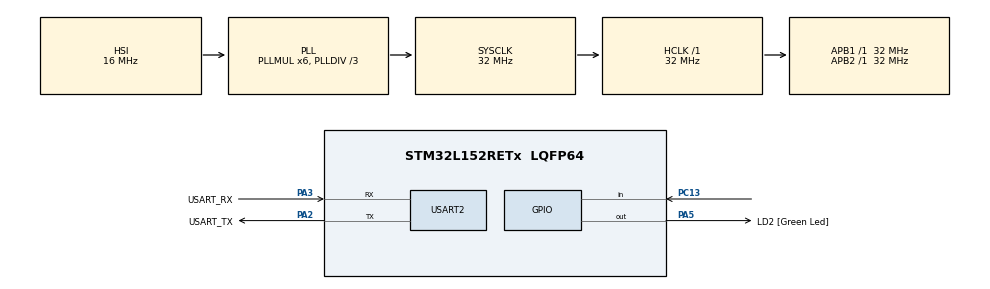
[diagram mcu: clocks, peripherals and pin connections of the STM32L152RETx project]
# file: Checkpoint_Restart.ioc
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Mcu.Family=STM32L1
Mcu.Name=STM32L152RETx
Mcu.Package=LQFP64
NVIC.PriorityGroup=NVIC_PRIORITYGROUP_0
PA13.GPIO_Label=TMS
PA13.Mode=Serial_Wire
PA13.Signal=SYS_JTMS-SWDIO
PA14.GPIO_Label=TCK
PA14.Mode=Serial_Wire
PA14.Signal=SYS_JTCK-SWCLK
PA2.GPIO_Label=USART_TX
PA2.Mode=Asynchronous
PA2.Signal=USART2_TX
PA3.GPIO_Label=USART_RX
PA3.Mode=Asynchronous
PA3.Signal=USART2_RX
PA5.GPIO_Label=LD2 [Green Led]
PA5.Signal=GPIO_Output
PB3.GPIO_Label=SWO
PB3.Signal=SYS_JTDO-TRACESWO
PC13-WKUP2.Signal=GPIO_Input
PC14-OSC32_IN.Mode=LSE-External-Oscillator
PC14-OSC32_IN.Signal=RCC_OSC32_IN
PC15-OSC32_OUT.Mode=LSE-External-Oscillator
PC15-OSC32_OUT.Signal=RCC_OSC32_OUT
PH0-OSC_IN.Mode=HSE-External-Clock-Source
PH0-OSC_IN.Signal=RCC_OSC_IN
PH1-OSC_OUT.Signal=RCC_OSC_OUT
ProjectManager.HeapSize=0x200
ProjectManager.StackSize=0x400
ProjectManager.TargetToolchain=STM32CubeIDE
RCC.48MHZClocksFreq_Value=48000000
RCC.AHBFreq_Value=32000000
RCC.APB1Freq_Value=32000000
RCC.APB1TimFreq_Value=32000000
RCC.APB2Freq_Value=32000000
RCC.APB2TimFreq_Value=32000000
RCC.HCLKFreq_Value=32000000
RCC.HSE_VALUE=8000000
RCC.HSI_VALUE=16000000
RCC.MSI_VALUE=2097000
RCC.PLLDIV=RCC_PLL_DIV3
RCC.PLLMUL=RCC_PLL_MUL6
RCC.RTCClockSelectionVirtual=RCC_RTCCLKSOURCE_LSE
RCC.SYSCLKFreq_VALUE=32000000
RCC.SYSCLKSource=RCC_SYSCLKSOURCE_PLLCLK
RCC.USBOutput=48000000
RCC.VCOOutputFreq_Value=96000000
USART2.VirtualMode=VM_ASYNC
VP_CRC_VS_CRC.Mode=CRC_Activate
board=NUCLEO-L152RE

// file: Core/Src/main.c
/* USER CODE BEGIN Header */

/* USER CODE END Header */
#include "main.h"

/* USER CODE BEGIN Includes */
#include <stdio.h>
#include <string.h>
/* USER CODE END Includes */

/* USER CODE BEGIN PTD */

//Struct that will be saved in EEPROM
typedef struct {
	// The checkpoint's information will be on top of the EEPROM
	uint32_t valid_checkpoint;	// Contains 0xACCEDED if there is a valid checkpoint
	uint32_t latest_checkpoint;	// Index of the most recent checkpoint
	uint32_t stack_size;	// Stack dimension (bytes)

	// Main Stack Pointer value at checkpoint time
	uint32_t msp;

	//Hardware exception frame registers
	uint32_t r0;
	uint32_t r1;
	uint32_t r2;
	uint32_t r3;
	uint32_t r12;
	uint32_t lr;
	uint32_t pc;
	uint32_t psr;

} SystemState;

/* USER CODE END PTD */

/* USER CODE BEGIN PD */

#define MATRIX_SIZE 15

/* USER CODE END PD */

CRC_HandleTypeDef hcrc;

UART_HandleTypeDef huart2;

/* USER CODE BEGIN PV */

//Initialization of the struct for future checkpoints
SystemState saved_context = {0};
static uint32_t recovery_return_msp;

// Temporary stack used while validating and restoring a checkpoint. It keeps
// recovery code and its local variables away from the checkpoint destination.
#define RECOVERY_STACK_WORDS 1024U
static uint32_t recovery_stack[RECOVERY_STACK_WORDS] __attribute__((aligned(8)));

/* USER CODE END PV */

void SystemClock_Config(void);
static void MX_GPIO_Init(void);
static void MX_USART2_UART_Init(void);
static void MX_CRC_Init(void);
/* USER CODE BEGIN PFP */

// Function declarations
void Capture_Registers(uint32_t *stack_pointer); // Saves the MSP, the Exception frame and registers R4-R11
void Save_State_EEPROM(SystemState *stato); // Saves in EEPROM local variables and the elements above
void Restore_Context(void); // Restores EEPROM's data in RAM
void Recover_Checkpoint(void) __attribute__((naked, noreturn));
void Recover_Checkpoint_C(void) __attribute__((noreturn));
void Restart_From_Boot_Stack(void) __attribute__((naked, noreturn));
void LU_Decomposition(void);
void Print_Matrix(float mat[MATRIX_SIZE][MATRIX_SIZE], const char* name); // Function used to show the actual process (debug print)
void Print_Reset_Cause(void);//Function used to show the cause of the reset

/* USER CODE END PFP */

/* USER CODE BEGIN 0 */
extern uint32_t _estack;

// Calculates the dimension of the Stack
void Analyze_Stack(void)
{
    uint32_t starting_address = (uint32_t)&_estack; // Stack top (provided by linker)
    uint32_t current_address = __get_MSP();  // Read current MSP via CMSIS
    uint32_t stack_size_bytes = starting_address - current_address;

    printf(" Starting address: 0x%08lX \r\n", starting_address);
    printf(" Current MSP:      0x%08lX \r\n", current_address);
    printf(" Stack dimension:  %lu byte \r\n\r\n", stack_size_bytes);
}

void Software_Delay(void)
{
    for (volatile uint32_t j = 0; j < 16000000; j++) {	//5 seconds delay to see the progress
    }
}

void Print_Reset_Cause(void)
{
    printf("\r\n\r\n Reset cause: ");

        if (__HAL_RCC_GET_FLAG(RCC_FLAG_PORRST)) {
            printf("Power-On / Power-Down Reset (POR/PDR) \r\n");
        }
        else if (__HAL_RCC_GET_FLAG(RCC_FLAG_PINRST)) {
            printf("Hardware Pin Reset (NRST Button) \r\n");
        }
        else if (__HAL_RCC_GET_FLAG(RCC_FLAG_SFTRST)) {
            printf("Software Reset (NVIC_SystemReset) \r\n");
        }
        else if (__HAL_RCC_GET_FLAG(RCC_FLAG_IWDGRST)) {
            printf("Independent Watchdog Timeout \r\n");
        }
        else if (__HAL_RCC_GET_FLAG(RCC_FLAG_WWDGRST)) {
            printf("Window Watchdog Timeout \r\n");
        }
        else if (__HAL_RCC_GET_FLAG(RCC_FLAG_LPWRRST)) {
            printf("Low-Power Reset \r\n");
        }
        else if (__HAL_RCC_GET_FLAG(RCC_FLAG_OBLRST)) {
            printf("Option Byte Load Reset \r\n");
        }
        else {
            printf("Unidentifiable flags \r\n");
        }

    __HAL_RCC_CLEAR_RESET_FLAGS();
}

void Print_Matrix(float mat[MATRIX_SIZE][MATRIX_SIZE], const char* name)
{
    printf("\r\n %s matrix: \r\n", name);
    for (int r = 0; r < MATRIX_SIZE; r++) {
        for (int c = 0; c < MATRIX_SIZE; c++) {
            printf("%7.2f ", mat[r][c]);	//%7.2f to align columns
        }
        printf("\r\n");
    }
}

void LU_Decomposition(void)
{
	//FIRST PHASE: LU DECOMPOSITION
	printf("\r\n====== STARTING LU DECOMPOSITION ======\r\n");

    // 1. Local variables declarations
    float A[MATRIX_SIZE][MATRIX_SIZE];
    float L[MATRIX_SIZE][MATRIX_SIZE] = {0};
    float U[MATRIX_SIZE][MATRIX_SIZE] = {0};

    // 2. Matrix creation, we use incremental values to have a deterministic process
    printf("\r\n Initializing matrix %d x %d \r\n", MATRIX_SIZE, MATRIX_SIZE);

    for (int i = 0; i < MATRIX_SIZE; i++) {
        for (int j = 0; j < MATRIX_SIZE; j++) {
            A[i][j] = (float)(i * MATRIX_SIZE + j + 1);
            if (i == j) A[i][j] += 100.0f;	// To avoid divisions by zero we increment the values on the diagonal
        }
    }

    // 3. Calculation process (complexity O(n^3))
    printf("\r\n Starting calculation: \r\n");

    for (int i = 0; i < MATRIX_SIZE; i++)
    {
        printf("\r\n Calculating [%d / %d] \r\n", i + 1, MATRIX_SIZE);

        // Upper matrix
        for (int k = i; k < MATRIX_SIZE; k++) {
            float sum = 0.0f;
            for (int j = 0; j < i; j++) {
                sum += (L[i][j] * U[j][k]);
            }
            U[i][k] = A[i][k] - sum;
        }

        // Lower matrix
        for (int k = i; k < MATRIX_SIZE; k++) {
            if (i == k) {
                L[i][i] = 1.0f;
            } else {
                float sum = 0.0f;
                for (int j = 0; j < i; j++) {
                    sum += (L[k][j] * U[j][i]);
                }
                L[k][i] = (A[k][i] - sum) / U[i][i];
            }
        }
        printf("\r\n Matrix at the end of the phase %d: \r\n", i + 1);
        Print_Matrix(L, "Lower");
        Print_Matrix(U, "Upper");

        // Checkpoint after each phase (Calls interrupt by PendSV)
        printf("\r\n Saving state in EEPROM (Checkpoint %d) \r\n", i + 1);
        SCB->ICSR |= SCB_ICSR_PENDSVSET_Msk;
        Software_Delay();
    }

    //SECOND PHASE: SYSTEM RESOLUTION
	printf("\r\n====== SYSTEM RESOLUTION ======\r\n");

	// 1. Vectors declaration (as local variables in stack)
	float b[MATRIX_SIZE];	// Right-hand side vector
	float y[MATRIX_SIZE] = {0};	// Intermediate vector
	float x[MATRIX_SIZE] = {0};	// Solution vector

	printf("\r\n Right-hand side vector (b): \r\n");
	for (int i = 0; i < MATRIX_SIZE; i++) {
		b[i] = (float)(i + 1) * 10.0f; // Random numbers (always multiple of 10)
		printf("%7.2f \r\n", b[i]);
	}

	printf("\r\n Last Checkpoint before solving the system \r\n");
	SCB->ICSR |= SCB_ICSR_PENDSVSET_Msk;
	Software_Delay();

	// 2. Forward Substitution (L * y = b)
	printf("\r\n Forward Substitution \r\n");
	for (int i = 0; i < MATRIX_SIZE; i++) {
		float sum = 0.0f;
		for (int j = 0; j < i; j++) {
			sum += L[i][j] * y[j];
		}
		y[i] = (b[i] - sum) / L[i][i];
	}

	printf("\r\n Saving state before Backward substitution \r\n");
	SCB->ICSR |= SCB_ICSR_PENDSVSET_Msk;
	Software_Delay();

	// 3. Backward Substitution (U * x = y)
	printf("\r\n Backward Substitution \r\n");
	for (int i = MATRIX_SIZE - 1; i >= 0; i--) {
		float sum = 0.0f;
		for (int j = i + 1; j < MATRIX_SIZE; j++) {
			sum += U[i][j] * x[j];
		}
		x[i] = (y[i] - sum) / U[i][i];
	}

	// 4. System solutions
	printf("\r\n====== SYSTEM SOLUTION ======\r\n");
	for (int i = 0; i < MATRIX_SIZE; i++) {
		printf("\r\n x[%d] = %7.4f \r\n ", i, x[i]);
	}

	printf("\r\n====== FUNCTION COMPLETED ======\r\n");

	// Cleaning the magic word in EEPROM to invalid any checkpoint
	HAL_FLASHEx_DATAEEPROM_Unlock();
	HAL_FLASHEx_DATAEEPROM_Program(FLASH_TYPEPROGRAMDATA_WORD, 0x08080000, 0x00000000);
	HAL_FLASHEx_DATAEEPROM_Lock();
	printf("\r\n Magic word deleted \r\n");
}
/* USER CODE END 0 */

int main(void)
{

  /* MCU Configuration--------------------------------------------------------*/

  /* Reset of all peripherals, Initializes the Flash interface and the Systick. */
  HAL_Init();

  /* Configure the system clock */
  SystemClock_Config();

  /* Initialize all configured peripherals */
  MX_GPIO_Init();
  MX_USART2_UART_Init();
  MX_CRC_Init();

  /* USER CODE BEGIN 2 */
  setvbuf(stdout, NULL, _IONBF, 0);

  HAL_Delay(2000);
  Print_Reset_Cause();
  printf("\r\n====== SYSTEM INITIALIZATION ======\r\n");

  //HAL_FLASHEx_DATAEEPROM_Unlock();
  //HAL_FLASHEx_DATAEEPROM_Program(FLASH_TYPEPROGRAMDATA_WORD, 0x08080000, 0x00000000);
  //HAL_FLASHEx_DATAEEPROM_Lock();

  printf("\r\n Stack status before the function: \r\n");
  Analyze_Stack();

    // Searching for a valid checkpoint in EEPROM
    uint32_t check_validity = *(__IO uint32_t *)(0x08080000);
    if (check_validity == 0xACCEDED) {
            printf(" Valid checkpoint found in EEPROM, starting recovery process \r\n");
            HAL_Delay(1000);
            Recover_Checkpoint();
    }
    else
    {
        printf(" No valid checkpoint found \r\n");
    }

    //Come back to function with context and memory restored
    LU_Decomposition();

  /* USER CODE END 2 */

  /* Infinite loop */
  while (1)
  {

  }
}

void SystemClock_Config(void)
{
  RCC_OscInitTypeDef RCC_OscInitStruct = {0};
  RCC_ClkInitTypeDef RCC_ClkInitStruct = {0};

  /** Configure the main internal regulator output voltage
  */
  __HAL_PWR_VOLTAGESCALING_CONFIG(PWR_REGULATOR_VOLTAGE_SCALE1);

  /** Initializes the RCC Oscillators according to the specified parameters
  * in the RCC_OscInitTypeDef structure.
  */
  RCC_OscInitStruct.OscillatorType = RCC_OSCILLATORTYPE_HSI;
  RCC_OscInitStruct.HSIState = RCC_HSI_ON;
  RCC_OscInitStruct.HSICalibrationValue = RCC_HSICALIBRATION_DEFAULT;
  RCC_OscInitStruct.PLL.PLLState = RCC_PLL_ON;
  RCC_OscInitStruct.PLL.PLLSource = RCC_PLLSOURCE_HSI;
  RCC_OscInitStruct.PLL.PLLMUL = RCC_PLL_MUL6;
  RCC_OscInitStruct.PLL.PLLDIV = RCC_PLL_DIV3;
  if (HAL_RCC_OscConfig(&RCC_OscInitStruct) != HAL_OK)
  {
    Error_Handler();
  }

  /** Initializes the CPU, AHB and APB buses clocks
  */
  RCC_ClkInitStruct.ClockType = RCC_CLOCKTYPE_HCLK|RCC_CLOCKTYPE_SYSCLK|RCC_CLOCKTYPE_PCLK1|RCC_CLOCKTYPE_PCLK2;
  RCC_ClkInitStruct.SYSCLKSource = RCC_SYSCLKSOURCE_PLLCLK;
  RCC_ClkInitStruct.AHBCLKDivider = RCC_SYSCLK_DIV1;
  RCC_ClkInitStruct.APB1CLKDivider = RCC_HCLK_DIV1;
  RCC_ClkInitStruct.APB2CLKDivider = RCC_HCLK_DIV1;

  if (HAL_RCC_ClockConfig(&RCC_ClkInitStruct, FLASH_LATENCY_1) != HAL_OK)
  {
    Error_Handler();
  }
}

static void MX_CRC_Init(void)
{

  hcrc.Instance = CRC;
  if (HAL_CRC_Init(&hcrc) != HAL_OK)
  {
    Error_Handler();
  }

}

static void MX_USART2_UART_Init(void)
{

  huart2.Instance = USART2;
  huart2.Init.BaudRate = 115200;
  huart2.Init.WordLength = UART_WORDLENGTH_8B;
  huart2.Init.StopBits = UART_STOPBITS_1;
  huart2.Init.Parity = UART_PARITY_NONE;
  huart2.Init.Mode = UART_MODE_TX_RX;
  huart2.Init.HwFlowCtl = UART_HWCONTROL_NONE;
  huart2.Init.OverSampling = UART_OVERSAMPLING_16;
  if (HAL_UART_Init(&huart2) != HAL_OK)
  {
    Error_Handler();
  }

}

static void MX_GPIO_Init(void)
{
  GPIO_InitTypeDef GPIO_InitStruct = {0};

  /* GPIO Ports Clock Enable */
  __HAL_RCC_GPIOC_CLK_ENABLE();
  __HAL_RCC_GPIOH_CLK_ENABLE();
  __HAL_RCC_GPIOA_CLK_ENABLE();
  __HAL_RCC_GPIOB_CLK_ENABLE();

  /*Configure GPIO pin Output Level */
  HAL_GPIO_WritePin(LD2_GPIO_Port, LD2_Pin, GPIO_PIN_RESET);

  /*Configure GPIO pin : PC13 */
  GPIO_InitStruct.Pin = GPIO_PIN_13;
  GPIO_InitStruct.Mode = GPIO_MODE_INPUT;
  GPIO_InitStruct.Pull = GPIO_NOPULL;
  HAL_GPIO_Init(GPIOC, &GPIO_InitStruct);

  /*Configure GPIO pin : LD2_Pin */
  GPIO_InitStruct.Pin = LD2_Pin;
  GPIO_InitStruct.Mode = GPIO_MODE_OUTPUT_PP;
  GPIO_InitStruct.Pull = GPIO_NOPULL;
  GPIO_InitStruct.Speed = GPIO_SPEED_FREQ_LOW;
  HAL_GPIO_Init(LD2_GPIO_Port, &GPIO_InitStruct);

}

/* USER CODE BEGIN 4 */
void PendSV_Handler(void) __attribute__((naked));
void PendSV_Handler(void)
{
    __asm volatile(
        "push {r4-r11} \n"           // Saving register R4-R11
        "mrs r0, msp \n"             // Sending MSP to function using R0

        "push {r3, lr} \n"           // Saving EXC_RETURN in R3
        "bl Capture_Registers \n"    // Branch to function (with link), original LR value is saved in R3
        "pop {r3, lr} \n"            // Restoring EXC_RETURN

        "pop {r4-r11} \n"            // Restoring other registers
        "bx lr \n"                   // Reading EXC_RETURN and come back to function
    );
}

//Saves registers values in the struct
void Capture_Registers(uint32_t *stack_pointer)
{

    saved_context.valid_checkpoint = 0xACCEDED;
    saved_context.latest_checkpoint = 1;		//will be used for future checks (CRC, DualSlot A-B)
    saved_context.msp = (uint32_t)stack_pointer;

    //Start from index 8 cause positions from 0 to 7 are occupied by registers R4-R11 (manually pushed)
    saved_context.r0 = stack_pointer[8];
    saved_context.r1 = stack_pointer[9];
    saved_context.r2 = stack_pointer[10];
    saved_context.r3 = stack_pointer[11];
    saved_context.r12 = stack_pointer[12];
    saved_context.lr = stack_pointer[13];
    saved_context.pc = stack_pointer[14];
    saved_context.psr= stack_pointer[15];

    Save_State_EEPROM(&saved_context);
}

//Saves the stack values in EEPROM
void Save_State_EEPROM(SystemState *saved_state)
{
	printf("\r\n Starting EEPROM dump \r\n");

    // MSP validity check
    uint32_t eeprom_address = 0x08080000;
    uint32_t starting_address = (uint32_t)&_estack;
    uint32_t current_address = saved_state->msp;
    if (current_address > starting_address || current_address < 0x20000000) {
        printf(" Error: Invalid MSP (%08lX) \r\n", current_address);
        return;
    }

    saved_state->stack_size = starting_address - current_address;
    printf(" Bytes to copy in EEPROM: %lu \r\n", saved_state->stack_size);

    // Treat the checkpoint as 32-bit words, matching the EEPROM programming
    // granularity and the CRC peripheral input format
    uint32_t *ptr_struct = (uint32_t *)saved_state;
    uint32_t struct_size_words = sizeof(SystemState) / 4U;
    uint32_t *ptr_ram = (uint32_t *)current_address;
    uint32_t ram_words = saved_state->stack_size / 4U;

    // The CRC is calculated after the payload has been written, using the
    // values read back from EEPROM.
	//Starting EEPROM dump timer
	CoreDebug->DEMCR |= CoreDebug_DEMCR_TRCENA_Msk;
	DWT->CYCCNT = 0;
	DWT->CTRL |= DWT_CTRL_CYCCNTENA_Msk;
	uint32_t start_cycles = DWT->CYCCNT;

    //Writing values in EEPROM
    HAL_FLASHEx_DATAEEPROM_Unlock();

    // Store the SystemState header starting at the checkpoint base address
    for (uint32_t i = 0; i < struct_size_words; i++) {
        HAL_FLASHEx_DATAEEPROM_Program(FLASH_TYPEPROGRAMDATA_WORD, eeprom_address, ptr_struct[i]);
        eeprom_address += 4;	// Advance by 4 bytes at a time
    }

    // Store R4-R11, The exception frame at indices 8-15 is represented by
    // the corresponding fields in SystemState and is therefore not stored twice
    for (uint32_t i = 0; i < 8; i++) {
        HAL_FLASHEx_DATAEEPROM_Program(FLASH_TYPEPROGRAMDATA_WORD, eeprom_address, ptr_ram[i]);
        eeprom_address += 4;
    }

    // Store local variables after the exception frame
    for (uint32_t i = 16; i < ram_words; i++) {
            HAL_FLASHEx_DATAEEPROM_Program(FLASH_TYPEPROGRAMDATA_WORD, eeprom_address, ptr_ram[i]);
            eeprom_address += 4;
    }

    // Calculate the CRC from the payload as it is now stored in EEPROM.
    // This avoids hashing stack data that may change during the EEPROM write.
    uint32_t payload_addr = 0x08080000;
    __HAL_CRC_DR_RESET(&hcrc);
    HAL_CRC_Accumulate(&hcrc, (uint32_t *)payload_addr, struct_size_words);
    payload_addr += struct_size_words * sizeof(uint32_t);
    HAL_CRC_Accumulate(&hcrc, (uint32_t *)payload_addr, 8U);
    payload_addr += 8U * sizeof(uint32_t);
    if (ram_words > 16U) {
        HAL_CRC_Accumulate(&hcrc, (uint32_t *)payload_addr, ram_words - 16U);
        payload_addr += (ram_words - 16U) * sizeof(uint32_t);
    }
    uint32_t checkpoint_crc = hcrc.Instance->DR;
    printf(" Checkpoint CRC: 0x%08lX \r\n", checkpoint_crc);

    // Store the CRC last, after the complete checkpoint payload
    HAL_FLASHEx_DATAEEPROM_Program(
        FLASH_TYPEPROGRAMDATA_WORD,
        eeprom_address,
        checkpoint_crc
    );

    HAL_FLASHEx_DATAEEPROM_Lock();

    //Stopping EEPROM dump timer
    uint32_t end_cycles = DWT->CYCCNT;
    uint32_t total_cycles = end_cycles - start_cycles;

    uint32_t clock_per_ms = SystemCoreClock / 1000;
    uint32_t time_ms = total_cycles / clock_per_ms;
    uint32_t time_us = (total_cycles % clock_per_ms) / (SystemCoreClock / 1000000);

    printf("\r\n CPU Clock Cycles Spent: %lu\r\n", total_cycles);
    printf(" Effective Dump Time: %lu ms and %lu us\r\n", time_ms, time_us);
    printf("\r\n EEPROM dump completed \r\n");
}

void Recover_Checkpoint(void)
{
    __asm volatile(
        // Preserve the boot stack pointer for the invalid-checkpoint fallback.
        "mrs r1, msp \n"
        "ldr r0, =recovery_return_msp \n"
        "str r1, [r0] \n"
        // Switch to a dedicated stack before using the checkpoint destination.
        "ldr r0, =recovery_stack \n"
        "add r0, r0, #4096 \n"
        "bic r0, r0, #7 \n"
        "mov sp, r0 \n"
        "b Recover_Checkpoint_C \n"
    );
}

void Recover_Checkpoint_C(void)
{
    uint32_t eeprom_addr = 0x08080000U;
    uint32_t *ptr_struct = (uint32_t *)&saved_context;
    uint32_t struct_size = sizeof(SystemState) / sizeof(uint32_t);
    uint32_t *ptr_ram;
    uint32_t ram_words;
    uint32_t stored_crc;
    uint32_t calculated_crc;
    uint32_t payload_addr;

    // Restore the SystemState header while running on the temporary stack.
    for (uint32_t i = 0U; i < struct_size; i++) {
        ptr_struct[i] = *(__IO uint32_t *)eeprom_addr;
        eeprom_addr += sizeof(uint32_t);
    }

    // Keep the stack payload in EEPROM until its CRC has been validated.
    ptr_ram = (uint32_t *)saved_context.msp;
    ram_words = saved_context.stack_size / sizeof(uint32_t);

    // Validate exactly the payload layout stored in EEPROM:
    // SystemState, R4-R11, local variables, and finally the CRC.
    __HAL_CRC_DR_RESET(&hcrc);
    HAL_CRC_Accumulate(&hcrc, (uint32_t *)&saved_context, struct_size);
    payload_addr = eeprom_addr;
    HAL_CRC_Accumulate(&hcrc, (uint32_t *)payload_addr, 8U);
    payload_addr += 8U * sizeof(uint32_t);
    if (ram_words > 16U) {
        HAL_CRC_Accumulate(&hcrc, (uint32_t *)payload_addr, ram_words - 16U);
        payload_addr += (ram_words - 16U) * sizeof(uint32_t);
    }
    calculated_crc = hcrc.Instance->DR;
    stored_crc = *(__IO uint32_t *)payload_addr;

    printf(" Stored checkpoint CRC:    0x%08lX \r\n", stored_crc);
    printf(" Calculated checkpoint CRC: 0x%08lX \r\n", calculated_crc);

    if (calculated_crc != stored_crc) {
        printf(" Checkpoint CRC invalid, starting from the beginning \r\n");
        Restart_From_Boot_Stack();
    }

    // Restore the stack only after the complete payload has been validated.
    eeprom_addr = 0x08080000U + struct_size * sizeof(uint32_t);
    for (uint32_t i = 0U; i < 8U; i++) {
        ptr_ram[i] = *(__IO uint32_t *)eeprom_addr;
        eeprom_addr += sizeof(uint32_t);
    }
    for (uint32_t i = 16U; i < ram_words; i++) {
        ptr_ram[i] = *(__IO uint32_t *)eeprom_addr;
        eeprom_addr += sizeof(uint32_t);
    }

    printf(" Checkpoint CRC valid, restoring context \r\n");
    Restore_Context();
    for (;;) {
    }
}

void Restart_From_Boot_Stack(void)
{
    __asm volatile(
        // Leave the temporary recovery stack before starting the application.
        "ldr r0, =recovery_return_msp \n"
        "ldr r1, [r0] \n"
        "msr msp, r1 \n"
        "b LU_Decomposition \n"
    );
}

void Restore_Context(void) __attribute__((naked));
void Restore_Context(void)
{
    __asm volatile(
	// Load the address of saved_context, which contains the restored
	// exception-frame registers and the checkpoint MSP.
    "ldr r0, = saved_context \n"

	// Restore MSP and pop the saved R4-R11 words from the restored stack.
	"ldr r1, [r0, #12] \n"  // MSP is at offset 12 in SystemState.
	"msr msp, r1 \n"        // Point MSP to the restored checkpoint stack.
	"pop {r4-r11} \n"       // The first eight stack words are R4-R11.

	// Move MSP past the restored exception frame. Its registers are restored
	// explicitly below, so the frame itself is not popped here.
	"mrs r1, msp \n"        // Read MSP after popping R4-R11.
	"add r1, r1, #32 \n"    // Skip eight exception-frame words.
	"msr msp, r1 \n"        // Point MSP to the restored local-variable area.

	// Prepare the return address. The PC is restored by the final pop.
	"ldr r2, [r0, #40] \n"  // PC is at offset 40 in SystemState.
	"orr r2, r2, #1 \n"     // Ensure the Cortex-M Thumb bit is set.
	"push {r2} \n"          // Place the return address on the current stack.

	// Restore the arithmetic condition flags from the saved xPSR value.
	"ldr r2, [r0, #44] \n"      // xPSR is at offset 44 in SystemState.
	"msr apsr_nzcvq, r2 \n"     // Restore the NZCVQ flags.

	// Restore the remaining exception-frame registers. R0 is restored last
	// because R0 is used as the base address of saved_context above.
	"ldr lr,  [r0, #36] \n"
	"ldr r12, [r0, #32] \n"
	"ldr r3,  [r0, #28] \n"
	"ldr r2,  [r0, #24] \n"
	"ldr r1,  [r0, #20] \n"
	"ldr r0,  [r0, #16] \n"  // Restore R0 last.

	// Load PC and continue execution at the instruction after the
	// checkpoint-triggering instruction.
	"pop {pc} \n"
    );
}

int _write(int file, char *ptr, int len) {
    HAL_UART_Transmit(&huart2, (uint8_t*)ptr, len, HAL_MAX_DELAY);
    return len;
}

/* USER CODE END 4 */

void Error_Handler(void)
{
  __disable_irq();
  while (1)
  {
  }
}
